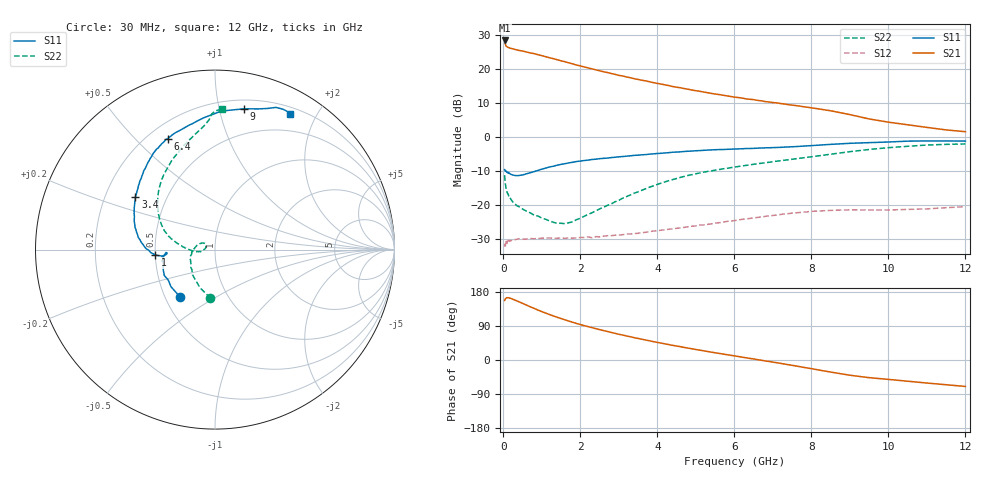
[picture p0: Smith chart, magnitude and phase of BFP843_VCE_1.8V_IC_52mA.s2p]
! Infineon Technologies  Discrete & RF Semiconductors
! BFP843
! VCE =  1.8 V,  IC =  52 mA
! Common Emitter S-Parameters:  Aug 2013
# GHz  S  MA  R  50
!  f  S11  S21  S12  S22
! GHz  MAG  ANG  MAG  ANG  MAG  ANG  MAG  ANG
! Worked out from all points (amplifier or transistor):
!   103 points, 30 MHz to 12 GHz, reference 50 ohm
!   highest |S21| = 28.4 dB at 30 MHz (marker M1)
!   |S21| within 3 dB of that: start of sweep to 437.2 MHz
!   unconditionally stable (mu >= 1): 40.46 MHz to 10.27 GHz
!   at 400 MHz: K = 1.10, MAG = 25.8 dB, |S12| = -30.0 dB
!   at 3.7 GHz: K = 1.48, MAG = 18.2 dB, |S12| = -28.1 dB
!   at 12 GHz: K = 0.86, MSG = 11.0 dB, |S12| = -20.6 dB
!   S11 on the Smith chart (normalised r, x): 30 MHz: 0.60, -0.35; 1 GHz: 0.50, -0.03; 3.4 GHz: 0.33, +0.27; 6.4 GHz: 0.28, +0.62; 9 GHz: 0.27, +1.19; 12 GHz: 0.28, +1.66
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0.03  0.3279 -126.3  26.2 157.1  0.0264 31.6  0.2719 -95.3
0.04  0.3209 -140.0  24.08 158.9  0.0245 24.8  0.2277 -111.7
0.05  0.3109 -146.7  23 161.6  0.0248 21.8  0.2007 -123.0
0.07  0.31 -158.3  21.62 163.4  0.0282 13.4  0.1703 -139.1
0.13  0.2932 -170.3  20.63 164.3  0.0281 16.0  0.1388 -166.6
0.6  0.285 -173.4  17.74 144.8  0.0312 6.1  0.0804 152.6
0.8  0.3071 -173.5  16.73 136.1  0.0315 5.3  0.0698 149.7
1  0.3336 -175.0  15.62 127.6  0.0321 6.7  0.0633 149.4
1.3  0.3686 -179.4  14.13 116.2  0.0319 7.5  0.055 156.7
1.5  0.3926 177.8  13.12 109.3  0.0323 9.2  0.0533 163.8
1.8  0.4213 172.6  11.83 99.5  0.0321 10.9  0.0561 175.9
2.1  0.4471 167.6  10.66 90.7  0.0329 12.7  0.0676 -176.5
2.8  0.4937 155.9  8.538 72.7  0.035 17.1  0.1026 -173.5
3.4  0.5325 146.4  7.153 58.9  0.0376 19.1  0.1479 179.5
4.1  0.5715 136.0  5.968 44.5  0.0421 21.9  0.2081 171.0
5  0.6228 125.5  4.768 27.7  0.0486 23.1  0.2851 161.5
6.1  0.6626 115.9  3.78 9.2  0.0596 20.6  0.3648 149.0
6.4  0.6721 113.1  3.567 4.2  0.0627 19.2  0.3859 145.4
8.5  0.7728 87.3  2.416 -31.9  0.0824 1.4  0.5536 115.6
9  0.8012 78.3  2.121 -40.2  0.084 -3.4  0.6034 107.1
10.5  0.8619 66.8  1.502 -56.0  0.0852 -11.9  0.724 92.6
12  0.8634 61.0  1.187 -69.8  0.0935 -19.4  0.784 87.3
